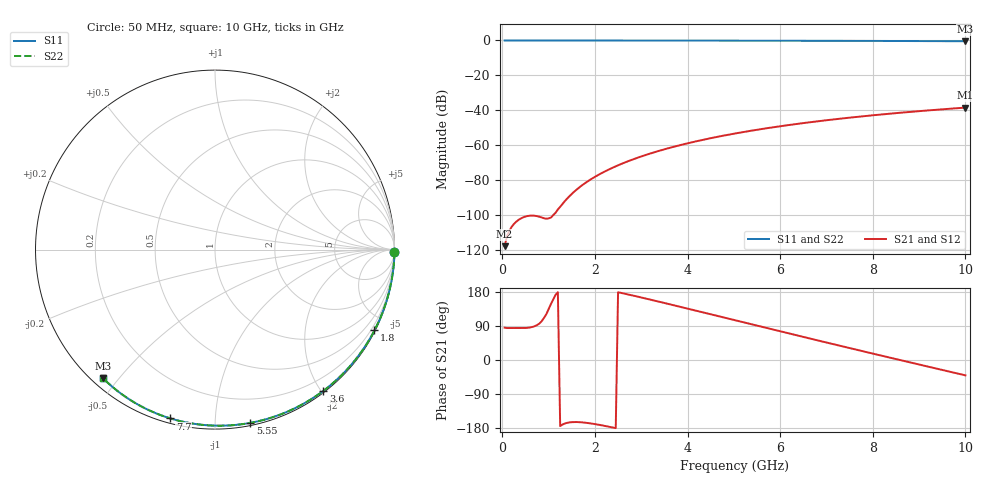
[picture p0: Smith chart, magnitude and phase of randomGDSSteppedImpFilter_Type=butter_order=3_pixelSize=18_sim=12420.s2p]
! freq	dB(S11)	phase(S11)	dB(S12)	phase(S12)
!  dB(S21)	phase(S21)	dB(S22)	phase(S22)
!S-par simulation data
#  GHz  S  DB  R 50
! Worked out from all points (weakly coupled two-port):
!   200 points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, 50 MHz to 10 GHz, reference 50 ohm
!   highest |S21| = -38.46 dB at 10 GHz (marker M1); lowest = -117.8 dB at 50 MHz (marker M2)
!   lowest |S11| = -0.4 dB at 10 GHz (marker M3), VSWR 39.16, Z = 1.54 - j22.7 ohm
!   |S11| at or under -10 dB: nowhere
!   |S22| runs from -0.4 to 0.0 dB; largest |S21 - S12| = 0
!   S11 on the Smith chart (normalised r, x): 50 MHz: open; 1.8 GHz: 0.04, -4.19; 3.6 GHz: 0.02, -2.03; 5.55 GHz: 0.02, -1.22; 7.7 GHz: 0.02, -0.77; 10 GHz: 0.03, -0.45
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0.05  -0.00 -0.8  -117.81 85.3  -117.81 85.3  -0.00 -0.8
0.9  -0.02 -13.6  -101.80 110.9  -101.80 110.9  -0.02 -13.6
1.75  -0.03 -26.1  -82.41 -164.9  -82.41 -164.9  -0.03 -26.1
1.8  -0.03 -26.9  -81.47 -165.5  -81.47 -165.5  -0.03 -26.9
1.85  -0.04 -27.6  -80.58 -166.3  -80.58 -166.3  -0.04 -27.6
1.9  -0.04 -28.3  -79.72 -167.2  -79.72 -167.2  -0.04 -28.3
2.05  -0.04 -30.5  -77.35 -170.1  -77.35 -170.1  -0.04 -30.5
2.25  -0.04 -33.4  -74.54 -174.8  -74.54 -174.8  -0.04 -33.4
2.45  -0.05 -36.3  -72.06 -179.8  -72.06 -179.8  -0.05 -36.3
2.65  -0.05 -39.2  -69.84 174.8  -69.84 174.8  -0.05 -39.2
3  -0.06 -44.1  -66.43 165.0  -66.43 165.0  -0.06 -44.1
3.4  -0.07 -49.8  -63.09 153.4  -63.09 153.4  -0.07 -49.8
3.6  -0.07 -52.5  -61.60 147.5  -61.60 147.5  -0.07 -52.5
4.3  -0.09 -62.1  -57.09 126.7  -57.09 126.7  -0.09 -62.1
5.05  -0.11 -72.0  -53.16 104.2  -53.16 104.2  -0.11 -72.0
5.55  -0.13 -78.5  -50.93 89.2  -50.93 89.2  -0.13 -78.5
6.1  -0.15 -85.4  -48.75 72.8  -48.75 72.8  -0.15 -85.4
6.7  -0.18 -92.8  -46.65 55.0  -46.65 55.0  -0.18 -92.8
7.7  -0.24 -104.8  -43.65 25.6  -43.65 25.6  -0.24 -104.8
8.35  -0.29 -112.4  -41.98 6.8  -41.98 6.8  -0.29 -112.4
9.15  -0.36 -121.5  -40.15 -16.2  -40.15 -16.2  -0.36 -121.5
10  -0.44 -131.1  -38.46 -40.5  -38.46 -40.5  -0.44 -131.1
